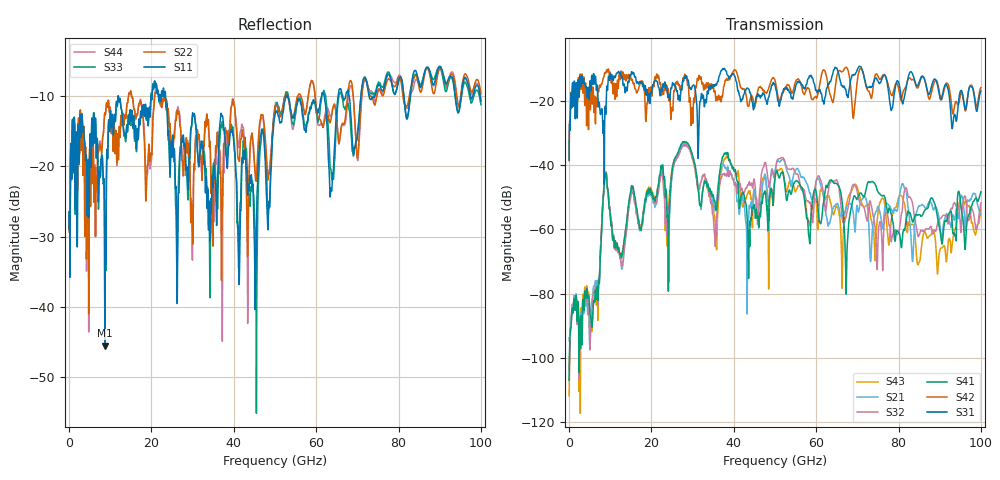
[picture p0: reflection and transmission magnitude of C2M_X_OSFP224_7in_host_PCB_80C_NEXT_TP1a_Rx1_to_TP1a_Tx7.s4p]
# GHz S RI R 45
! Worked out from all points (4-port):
!   4000 points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, 25 MHz to 100 GHz, reference 45 ohm
!   strongest paths, dB at 25 MHz, 25.02 GHz, 50.02 GHz, 75.03 GHz, 100 GHz:
!     S31: -38.4, -15.2, -15.1, -13.9, -17.0
!     S42: -38.6, -22.1, -13.7, -12.5, -15.9
!     S41: -107.0, -41.9, -43.8, -48.3, -48.3
!     S32: -103.8, -43.1, -42.4, -63.3, -51.8
!     S21: -93.7, -43.8, -41.9, -53.0, -55.1
!     S43: -111.7, -41.4, -44.1, -54.6, -53.5
!   lowest |S11| = -45.5 dB at 8.7 GHz (marker M1), VSWR 1.01, Z = 45 + j0.477 ohm
!   |S11| at or under -10 dB: start of sweep to 11.91 GHz; 23.45 GHz to 52.67 GHz (29.23 GHz wide, 76.8 % of centre); 53.14 GHz to 61.33 GHz (8.189 GHz wide, 14.3 % of centre) (the widest 3 of 18)
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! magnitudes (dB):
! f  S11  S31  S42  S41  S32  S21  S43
! 25 MHz  -28.8  -38.4  -38.6  -107.0  -103.8  -93.7  -111.7
! 6.875 GHz  -16.5  -15.4  -18.8  -78.1  -78.7  -76.3  -80.2
! 8.7 GHz  -45.5  -23.6  -11.3  -43.6  -43.3  -43.6  -43.2
! 12.75 GHz  -11.9  -12.9  -11.8  -68.7  -71.6  -72.1  -68.1
! 28.3 GHz  -18.5  -12.9  -12.9  -32.8  -33.7  -33.1  -33.5
! 67.33 GHz  -9.5  -17.8  -9.6  -78.1  -55.8  -53.4  -52.3
! 100 GHz  -10.7  -17.0  -15.9  -48.3  -51.8  -55.1  -53.5
